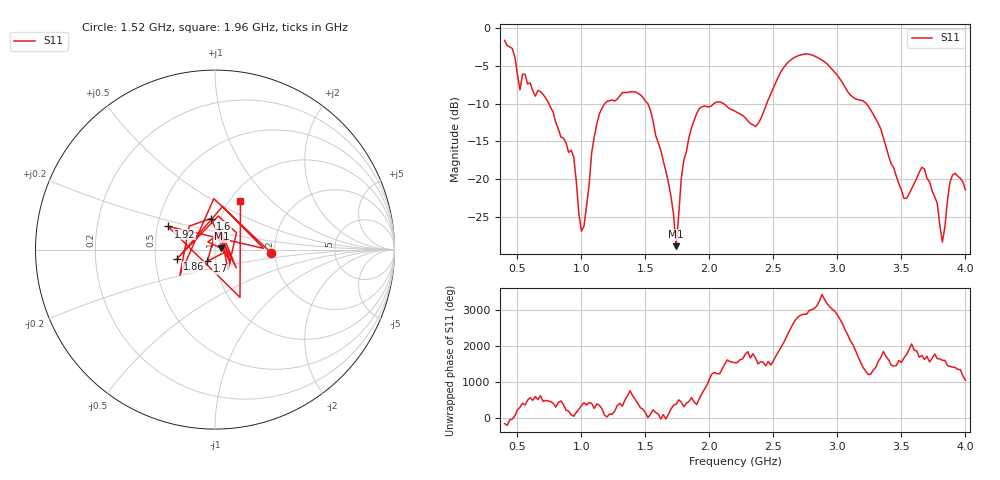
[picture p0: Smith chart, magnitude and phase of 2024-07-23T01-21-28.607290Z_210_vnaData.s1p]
!Created with skrf (http://scikit-rf.org).
# Hz S RI R 50.0
!freq ReS11 ImS11
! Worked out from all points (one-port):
!   181 points, 400 MHz to 4 GHz, reference 50 ohm
!   lowest |S11| = -28.9 dB at 1.74 GHz (marker M1), VSWR 1.07, Z = 53.7 + j0.754 ohm
!   |S11| at or under -10 dB: 745.3 MHz to 1.184 GHz (438.7 MHz wide, 45.5 % of centre); 1.518 GHz to 2.037 GHz (519.1 MHz wide, 29.2 % of centre); 3.225 GHz to end of sweep (the widest 3 of 4)
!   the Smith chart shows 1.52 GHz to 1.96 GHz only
!   S11 on the Smith chart (normalised r, x): 1.52 GHz: 1.91, -0.08; 1.6 GHz: 0.90, +0.32; 1.7 GHz: 0.91, -0.12; 1.86 GHz: 0.65, -0.07; 1.92 GHz: 0.57, +0.16; 1.96 GHz: 1.12, +0.67
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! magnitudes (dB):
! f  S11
! 400 MHz  -1.7
! 520 MHz  -8.2
! 560 MHz  -6.1
! 860 MHz  -14.6
! 940 MHz  -17.1
! 1 GHz  -26.9
! 1.14 GHz  -11.4
! 1.3 GHz  -9.0
! 1.52 GHz  -10.0
! 1.6 GHz  -15.1
! 1.7 GHz  -22.3
! 1.74 GHz  -28.9
! 1.76 GHz  -24.8
! 1.8 GHz  -17.5
! 1.86 GHz  -13.2
! 1.92 GHz  -10.7
! 1.96 GHz  -10.3
! 2.2 GHz  -11.0
! 2.36 GHz  -13.0
! 2.66 GHz  -3.9
! 3.1 GHz  -8.8
! 3.28 GHz  -11.4
! 3.56 GHz  -22.0
! 3.68 GHz  -18.7
! 3.78 GHz  -23.2
! 3.82 GHz  -28.3
! 3.9 GHz  -19.5
! 4 GHz  -21.4
